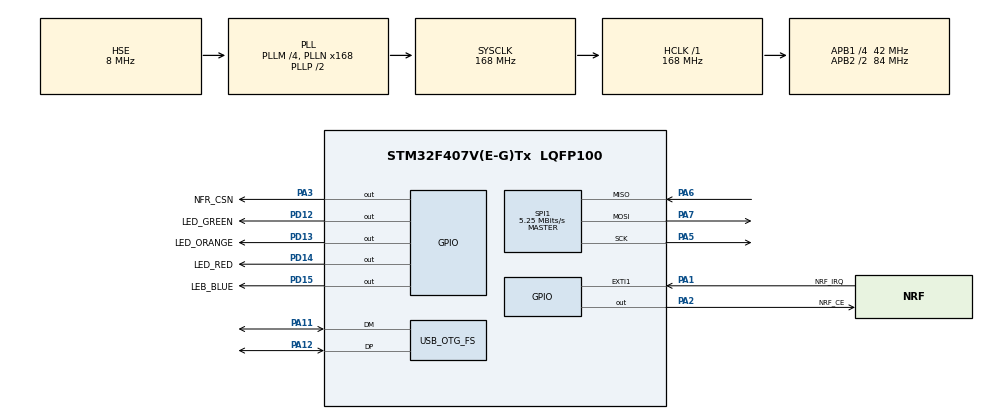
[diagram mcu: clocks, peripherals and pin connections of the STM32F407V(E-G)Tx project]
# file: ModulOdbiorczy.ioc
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Dma.Request0=SPI1_RX
Dma.Request1=SPI1_TX
Dma.SPI1_RX.0.Direction=DMA_PERIPH_TO_MEMORY
Dma.SPI1_RX.0.FIFOMode=DMA_FIFOMODE_DISABLE
Dma.SPI1_RX.0.Instance=DMA2_Stream0
Dma.SPI1_RX.0.MemDataAlignment=DMA_MDATAALIGN_BYTE
Dma.SPI1_RX.0.MemInc=DMA_MINC_ENABLE
Dma.SPI1_RX.0.Mode=DMA_NORMAL
Dma.SPI1_RX.0.PeriphDataAlignment=DMA_PDATAALIGN_BYTE
Dma.SPI1_RX.0.PeriphInc=DMA_PINC_DISABLE
Dma.SPI1_RX.0.Priority=DMA_PRIORITY_LOW
Dma.SPI1_TX.1.Direction=DMA_MEMORY_TO_PERIPH
Dma.SPI1_TX.1.FIFOMode=DMA_FIFOMODE_DISABLE
Dma.SPI1_TX.1.Instance=DMA2_Stream3
Dma.SPI1_TX.1.MemDataAlignment=DMA_MDATAALIGN_BYTE
Dma.SPI1_TX.1.MemInc=DMA_MINC_ENABLE
Dma.SPI1_TX.1.Mode=DMA_NORMAL
Dma.SPI1_TX.1.PeriphDataAlignment=DMA_PDATAALIGN_BYTE
Dma.SPI1_TX.1.PeriphInc=DMA_PINC_DISABLE
Dma.SPI1_TX.1.Priority=DMA_PRIORITY_LOW
Mcu.Family=STM32F4
Mcu.Name=STM32F407V(E-G)Tx
Mcu.Package=LQFP100
NVIC.DMA2_Stream0_IRQn=true\:0\:0\:false\:false\:true
NVIC.DMA2_Stream3_IRQn=true\:0\:0\:false\:false\:true
NVIC.EXTI1_IRQn=true\:0\:0\:false\:false\:true
NVIC.OTG_FS_IRQn=true\:0\:0\:false\:false\:true
NVIC.PriorityGroup=NVIC_PRIORITYGROUP_4
NVIC.TIM7_IRQn=true\:0\:0\:false\:false\:true
PA1.GPIO_Label=NRF_IRQ
PA1.GPIO_ModeDefaultEXTI=GPIO_MODE_IT_FALLING
PA1.Signal=GPXTI1
PA11.Mode=Device_Only
PA11.Signal=USB_OTG_FS_DM
PA12.Mode=Device_Only
PA12.Signal=USB_OTG_FS_DP
PA13.Mode=Serial_Wire
PA13.Signal=SYS_JTMS-SWDIO
PA14.Mode=Serial_Wire
PA14.Signal=SYS_JTCK-SWCLK
PA2.GPIO_Label=NRF_CE
PA2.Signal=GPIO_Output
PA3.GPIO_Label=NFR_CSN
PA3.Signal=GPIO_Output
PA5.Mode=Full_Duplex_Master
PA5.Signal=SPI1_SCK
PA6.Mode=Full_Duplex_Master
PA6.Signal=SPI1_MISO
PA7.Mode=Full_Duplex_Master
PA7.Signal=SPI1_MOSI
PD12.GPIO_Label=LED_GREEN
PD12.Signal=GPIO_Output
PD13.GPIO_Label=LED_ORANGE
PD13.Signal=GPIO_Output
PD14.GPIO_Label=LED_RED
PD14.Signal=GPIO_Output
PD15.GPIO_Label=LEB_BLUE
PD15.Signal=GPIO_Output
PH0-OSC_IN.Mode=HSE-External-Oscillator
PH0-OSC_IN.Signal=RCC_OSC_IN
PH1-OSC_OUT.Mode=HSE-External-Oscillator
PH1-OSC_OUT.Signal=RCC_OSC_OUT
ProjectManager.HeapSize=0x200
ProjectManager.StackSize=0x400
ProjectManager.TargetToolchain=SW4STM32
RCC.48MHZClocksFreq_Value=48000000
RCC.AHBFreq_Value=168000000
RCC.APB1CLKDivider=RCC_HCLK_DIV4
RCC.APB1Freq_Value=42000000
RCC.APB1TimFreq_Value=84000000
RCC.APB2CLKDivider=RCC_HCLK_DIV2
RCC.APB2Freq_Value=84000000
RCC.APB2TimFreq_Value=168000000
RCC.CortexFreq_Value=168000000
RCC.HCLKFreq_Value=168000000
RCC.HSE_VALUE=8000000
RCC.HSI_VALUE=16000000
RCC.LSE_VALUE=32768
RCC.PLLM=4
RCC.PLLN=168
RCC.PLLQ=7
RCC.SYSCLKFreq_VALUE=168000000
RCC.SYSCLKSource=RCC_SYSCLKSOURCE_PLLCLK
RCC.VCOOutputFreq_Value=336000000
SPI1.BaudRatePrescaler=SPI_BAUDRATEPRESCALER_16
SPI1.CalculateBaudRate=5.25 MBits/s
SPI1.Mode=SPI_MODE_MASTER
TIM7.Period=10000
TIM7.Prescaler=167
USB_DEVICE.CLASS_NAME-CDC_FS=CDC
USB_DEVICE.CLASS_NAME_FS=CDC
USB_DEVICE.USBD_HandleTypeDef-CDC_FS=hUsbDeviceFS
USB_DEVICE.VirtualMode-CDC_FS=Cdc
USB_DEVICE.VirtualModeFS=Cdc_FS
USB_OTG_FS.VirtualMode=Device_Only
VP_TIM7_VS_ClockSourceINT.Mode=Enable_Timer
VP_USB_DEVICE_VS_USB_DEVICE_CDC_FS.Mode=CDC_FS
board=ModulOdbiorczy

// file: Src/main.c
/**
  ******************************************************************************
  * File Name          : main.c
  * Description        : Main program body
  ******************************************************************************
  *
  * Copyright (c) 2016 STMicroelectronics International N.V.
  * All rights reserved.
  *
  * Redistribution and use in source and binary forms, with or without
  * modification, are permitted, provided that the following conditions are met:
  *
  * 1. Redistribution of source code must retain the above copyright notice,
  *    this list of conditions and the following disclaimer.
  * 2. Redistributions in binary form must reproduce the above copyright notice,
  *    this list of conditions and the following disclaimer in the documentation
  *    and/or other materials provided with the distribution.
  * 3. Neither the name of STMicroelectronics nor the names of other
  *    contributors to this software may be used to endorse or promote products
  *    derived from this software without specific written permission.
  * 4. This software, including modifications and/or derivative works of this
  *    software, must execute solely and exclusively on microcontroller or
  *    microprocessor devices manufactured by or for STMicroelectronics.
  * 5. Redistribution and use of this software other than as permitted under
  *    this license is void and will automatically terminate your rights under
  *    this license.
  *
  * THIS SOFTWARE IS PROVIDED BY STMICROELECTRONICS AND CONTRIBUTORS "AS IS"
  * AND ANY EXPRESS, IMPLIED OR STATUTORY WARRANTIES, INCLUDING, BUT NOT
  * LIMITED TO, THE IMPLIED WARRANTIES OF MERCHANTABILITY, FITNESS FOR A
  * PARTICULAR PURPOSE AND NON-INFRINGEMENT OF THIRD PARTY INTELLECTUAL PROPERTY
  * RIGHTS ARE DISCLAIMED TO THE FULLEST EXTENT PERMITTED BY LAW. IN NO EVENT
  * SHALL STMICROELECTRONICS OR CONTRIBUTORS BE LIABLE FOR ANY DIRECT, INDIRECT,
  * INCIDENTAL, SPECIAL, EXEMPLARY, OR CONSEQUENTIAL DAMAGES (INCLUDING, BUT NOT
  * LIMITED TO, PROCUREMENT OF SUBSTITUTE GOODS OR SERVICES; LOSS OF USE, DATA,
  * OR PROFITS; OR BUSINESS INTERRUPTION) HOWEVER CAUSED AND ON ANY THEORY OF
  * LIABILITY, WHETHER IN CONTRACT, STRICT LIABILITY, OR TORT (INCLUDING
  * NEGLIGENCE OR OTHERWISE) ARISING IN ANY WAY OUT OF THE USE OF THIS SOFTWARE,
  * EVEN IF ADVISED OF THE POSSIBILITY OF SUCH DAMAGE.
  *
  ******************************************************************************
  */
#include "main.h"
#include "stm32f4xx_hal.h"
#include "dma.h"
#include "spi.h"
#include "tim.h"
#include "usb_device.h"
#include "gpio.h"

/* USER CODE BEGIN Includes */
#include "radio.h"
#include "usbd_cdc_if.h"
#include "delay.h"
#include "RF24.h"

/* USER CODE END Includes */

/* USER CODE BEGIN PV */
/* Private variables ---------------------------------------------------------*/
uint8_t DataToSend[40];
int16_t MsgLength = 0;
/* USER CODE END PV */

void SystemClock_Config(void);
void Error_Handler(void);

/* USER CODE BEGIN PFP */
/* Private function prototypes -----------------------------------------------*/

/* USER CODE END PFP */

int main(void)
{

  /* MCU Configuration----------------------------------------------------------*/

  /* Reset of all peripherals, Initializes the Flash interface and the Systick. */
  HAL_Init();

  /* Configure the system clock */
  SystemClock_Config();

  /* Initialize all configured peripherals */
  MX_GPIO_Init();
  MX_DMA_Init();
  MX_SPI1_Init();
  MX_USB_DEVICE_Init();
  MX_TIM7_Init();

  /* USER CODE BEGIN 2 */
  TM_Delay_Init();
  HAL_TIM_Base_Start_IT(&htim7);

//  MsgLength = sprintf(DataToSend, "Robim radio.\n\r");
//  CDC_Transmit_FS(DataToSend, MsgLength);

  delayMicroseconds(150000);
  initRadio();

  uint8_t buff[32] = {'x', 'y', 'z', 'w',5,6,7,8,1,2,3,4,5,6,7,8,1,2,3,4,5,6,7,8,1,2,3,4,5,6,7,8};
  uint8_t info[8] = {0};

  //  setPayloadSize(4);
  setCRCLength(RF24_CRC_16);
  SPIWriteRegister(RF_SETUP | W_REGISTER, 0x5);
  SPIWriteRegister(RX_PW_P0 | W_REGISTER, 0x08);
  SPIWriteRegister(RX_PW_P1 | W_REGISTER, 0x08);
  SPIWriteRegister(EN_RXADDR | W_REGISTER, 0x03);
//  SPIWriteRegister(SETUP_RETR | W_REGISTER, 0x00);
//  setDataRate(RF24_1MBPS);

  //  disableCRC();
//  delayMicroseconds(100);
  powerUp();
  uint8_t ret = readRadioRegister(CONFIG);
  ret = readRadioRegister(EN_AA);
  ret = readRadioRegister(EN_RXADDR);
  ret = readRadioRegister(RF_CH);

  ret = readRadioRegister(SETUP_AW);
  ret = readRadioRegister(SETUP_RETR);
  ret = readRadioRegister(RF_SETUP);
  ret = readRadioRegister(STATUS);
  ret = readRadioRegister(OBSERVE_TX);
  ret = readRadioRegister(CD);
  ret = readRadioRegister(RX_PW_P0);
  ret = readRadioRegister(RX_PW_P1);
  ret = readRadioRegister(RX_PW_P2);
  ret = readRadioRegister(RX_PW_P3);
  ret = readRadioRegister(RX_PW_P4);
  ret = readRadioRegister(RX_PW_P5);
  ret = readRadioRegister(FIFO_STATUS);
  ret = readRadioRegister(DYNPD);
  ret = readRadioRegister(FEATURE);

  stopListening();

  readRadioRegisters(TX_ADDR, info, 5 );
  readRadioRegisters(RX_ADDR_P0, info, 5 );
  readRadioRegisters(RX_ADDR_P1, info, 5 );

  /* USER CODE END 2 */

  /* Infinite loop */
  /* USER CODE BEGIN WHILE */
  while (1)
  {
//	  MsgLength = sprintf(DataToSend, "T: %d.\n\r", getMicroSeconds());
//	  CDC_Transmit_FS(DataToSend, MsgLength);
//	  SPIReadByte(0x07, &buff);
//	  HAL_GPIO_WritePin(LED_GREEN_GPIO_Port, LED_GREEN_Pin, GPIO_PIN_SET);
//	  delayMicroseconds(25000);
//	  HAL_GPIO_WritePin(LED_GREEN_GPIO_Port, LED_GREEN_Pin, GPIO_PIN_RESET);
//	  delayMicroseconds(225000);

//	  writeRadio(buff,4);
	  HAL_GPIO_TogglePin(LED_ORANGE_GPIO_Port, LED_ORANGE_Pin);
	  SPIWriteRegister(FLUSH_RX, 0x00);
	  SPIWriteRegister(FLUSH_TX, 0x00);
	  SPIWriteRegisters(W_TX_PAYLOAD, 4, buff);
	  ret = readRadioRegister(STATUS);
	  ce(HIGH);
	  delayMicroseconds(5);
	  ce(LOW);
	  ret = readRadioRegister(STATUS);
	  delayMicroseconds(1000000);
	  clearInterruptFlag(true, true, true);
	  ret = readRadioRegister(STATUS);
//	  delayMicroseconds(ret);

//	  stopListening();
//	  readRadio(buff, 8);
//	  startListening();

  /* USER CODE END WHILE */

  }

}

/** System Clock Configuration
*/
void SystemClock_Config(void)
{

  RCC_OscInitTypeDef RCC_OscInitStruct;
  RCC_ClkInitTypeDef RCC_ClkInitStruct;

    /**Configure the main internal regulator output voltage
    */
  __HAL_RCC_PWR_CLK_ENABLE();

  __HAL_PWR_VOLTAGESCALING_CONFIG(PWR_REGULATOR_VOLTAGE_SCALE1);

    /**Initializes the CPU, AHB and APB busses clocks
    */
  RCC_OscInitStruct.OscillatorType = RCC_OSCILLATORTYPE_HSE;
  RCC_OscInitStruct.HSEState = RCC_HSE_ON;
  RCC_OscInitStruct.PLL.PLLState = RCC_PLL_ON;
  RCC_OscInitStruct.PLL.PLLSource = RCC_PLLSOURCE_HSE;
  RCC_OscInitStruct.PLL.PLLM = 4;
  RCC_OscInitStruct.PLL.PLLN = 168;
  RCC_OscInitStruct.PLL.PLLP = RCC_PLLP_DIV2;
  RCC_OscInitStruct.PLL.PLLQ = 7;
  if (HAL_RCC_OscConfig(&RCC_OscInitStruct) != HAL_OK)
  {
    Error_Handler();
  }

    /**Initializes the CPU, AHB and APB busses clocks
    */
  RCC_ClkInitStruct.ClockType = RCC_CLOCKTYPE_HCLK|RCC_CLOCKTYPE_SYSCLK
                              |RCC_CLOCKTYPE_PCLK1|RCC_CLOCKTYPE_PCLK2;
  RCC_ClkInitStruct.SYSCLKSource = RCC_SYSCLKSOURCE_PLLCLK;
  RCC_ClkInitStruct.AHBCLKDivider = RCC_SYSCLK_DIV1;
  RCC_ClkInitStruct.APB1CLKDivider = RCC_HCLK_DIV4;
  RCC_ClkInitStruct.APB2CLKDivider = RCC_HCLK_DIV2;

  if (HAL_RCC_ClockConfig(&RCC_ClkInitStruct, FLASH_LATENCY_5) != HAL_OK)
  {
    Error_Handler();
  }

    /**Configure the Systick interrupt time
    */
  HAL_SYSTICK_Config(HAL_RCC_GetHCLKFreq()/1000);

    /**Configure the Systick
    */
  HAL_SYSTICK_CLKSourceConfig(SYSTICK_CLKSOURCE_HCLK);

  /* SysTick_IRQn interrupt configuration */
  HAL_NVIC_SetPriority(SysTick_IRQn, 0, 0);
}

void Error_Handler(void)
{
  while(1)
  {
  }
}

/************************ (C) COPYRIGHT STMicroelectronics *****END OF FILE****/
